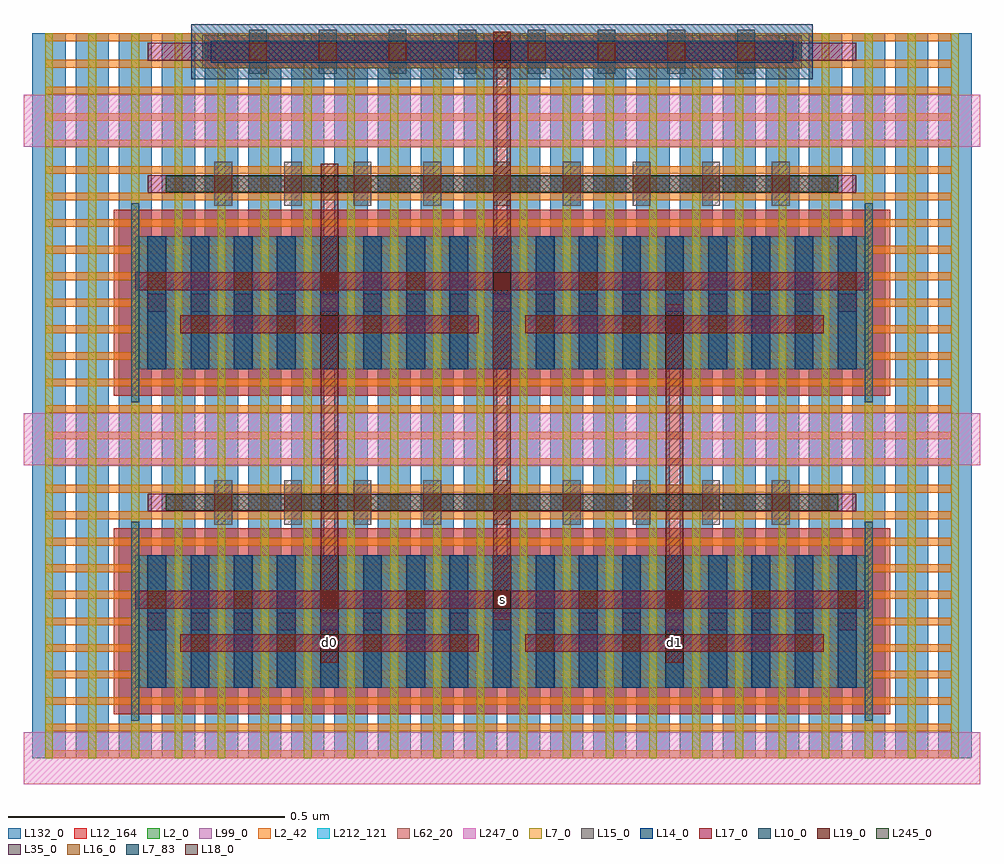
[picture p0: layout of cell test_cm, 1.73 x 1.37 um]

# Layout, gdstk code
import gdstk
lib = gdstk.Library(unit=1e-6, precision=1e-12)
def R(c, l, rs):  # rectangles x0, y0, x1, y1
    for r in rs: c.add(gdstk.rectangle(r[:2], r[2:], *l))
def A(c, l, x, y, w, h, nx, ny, dx, dy):  # array of equal rectangles
    R(c, l, [(x+i*dx, y+j*dy, x+i*dx+w, y+j*dy+h) for i in range(nx) for j in range(ny)])
L2_0 = (2, 0)
L2_42 = (2, 42)
L7_0 = (7, 0)
L7_83 = (7, 83)
L10_0 = (10, 0)
L12_164 = (12, 164)
L14_0 = (14, 0)
L15_0 = (15, 0)
L16_0 = (16, 0)
L17_0 = (17, 0)
L18_0 = (18, 0)
L19_0 = (19, 0)
L35_0 = (35, 0)
L62_20 = (62, 20)
L99_0 = (99, 0)
L132_0 = (132, 0)
L212_121 = (212, 121)
L245_0 = (245, 0)
L247_0 = (247, 0)

test_cm = lib.new_cell('test_cm')
R(test_cm, L2_0, [(0.186,0.127,1.512,0.367), (0.186,0.703,1.512,0.943), (0.3074,1.247,1.3906,1.307)])
A(test_cm, L2_42, 0.023, 0, 1.638, 0.014, 1, 28, 0, 0.048)
A(test_cm, L7_0, 0.023, 0, 0.014, 1.31, 22, 1, 0.078, 0)
R(test_cm, L7_83, [(0.179,0.067,0.193,0.427), (1.505,0.067,1.519,0.427), (0.179,0.643,0.193,1.003), (1.505,0.643,1.519,1.003)])
R(test_cm, L10_0, [(0.2874,1.227,1.4106,1.327)])
R(test_cm, L12_164, [(0.147,0.079,1.551,0.415), (0.147,0.655,1.551,0.991)])
A(test_cm, L14_0, 0.208, 0.127, 0.034, 0.24, 17, 2, 0.078, 0.576)
R(test_cm, L14_0, [(0.3224,1.257,1.3756,1.297)])
A(test_cm, L15_0, 0.209, 0.127, 0.032, 0.24, 17, 2, 0.078, 0.576)
A(test_cm, L15_0, 0.329, 0.422, 0.032, 0.08, 9, 2, 0.126, 0.576)
A(test_cm, L15_0, 0.392, 1.237, 0.032, 0.08, 8, 1, 0.126, 0)
A(test_cm, L16_0, 0.287, 0.192, 0.032, 0.032, 8, 2, 0.156, 0.576)
A(test_cm, L16_0, 0.209, 0.27, 0.032, 0.032, 9, 2, 0.156, 0.576)
A(test_cm, L16_0, 0.329, 0.446, 0.032, 0.032, 9, 2, 0.126, 0.576)
A(test_cm, L16_0, 0.392, 1.261, 0.032, 0.032, 8, 1, 0.126, 0)
R(test_cm, L17_0, [(0.267,0.192,0.807,0.224), (0.891,0.192,1.431,0.224), (0.186,0.27,1.512,0.302), (0.209,0.446,1.489,0.478), (0.267,0.768,0.807,0.8), (0.891,0.768,1.431,0.8), (0.186,0.846,1.512,0.878), (0.209,1.022,1.489,1.054), (0.209,1.261,1.489,1.293)])
R(test_cm, L18_0, [(0.521,0.192,0.553,0.224), (1.145,0.192,1.177,0.224), (0.833,0.27,0.865,0.302), (0.521,0.446,0.553,0.478), (0.521,0.768,0.553,0.8), (1.145,0.768,1.177,0.8), (0.833,0.846,0.865,0.878), (0.521,1.022,0.553,1.054), (0.833,1.261,0.865,1.293)])
R(test_cm, L19_0, [(0.521,0.172,0.553,1.074), (1.145,0.172,1.177,0.82), (0.833,0.25,0.865,1.313)])
A(test_cm, L35_0, 0.209, 0.231, 0.032, 0.032, 17, 2, 0.078, 0.576)
A(test_cm, L35_0, 0.329, 0.446, 0.032, 0.032, 9, 2, 0.126, 0.576)
A(test_cm, L35_0, 0.392, 1.261, 0.032, 0.032, 8, 1, 0.126, 0)
R(test_cm, L62_20, [(0.186,0.127,1.512,0.367), (0.186,0.703,1.512,0.943)])
R(test_cm, L99_0, [(0.186,0.127,1.512,0.367), (0.186,0.703,1.512,0.943), (0.3174,1.252,1.3806,1.302)])
A(test_cm, L132_0, 0, 0, 0.06, 1.31, 22, 1, 0.078, 0)
R(test_cm, L212_121, [(0.186,0.127,1.512,0.367), (0.186,0.703,1.512,0.943)])
R(test_cm, L245_0, [(0.241,0.447,1.457,0.477), (0.241,1.023,1.457,1.053)])
A(test_cm, L247_0, -0.016, -0.047, 1.73, 0.094, 1, 3, 0, 0.576)
test_cm.add(gdstk.Label('s', (0.849,0.286), layer=16, texttype=20))
test_cm.add(gdstk.Label('d1', (1.161,0.208), layer=16, texttype=20))
test_cm.add(gdstk.Label('d0', (0.537,0.208), layer=16, texttype=20))

lib.write_gds('test_cm.gds')
